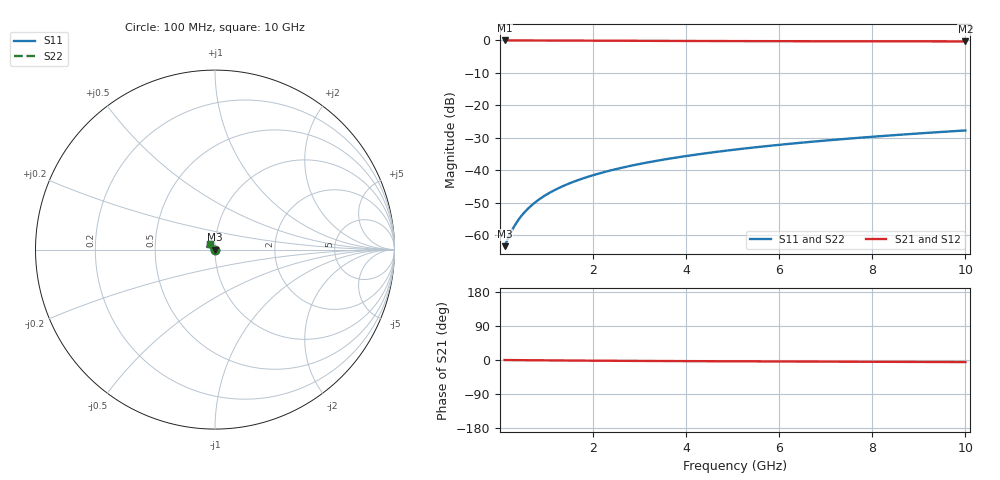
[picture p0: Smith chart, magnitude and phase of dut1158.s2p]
! Touchstone file exported from HFSS 2024.1.0
!  File:  C:/UserFiles/LocalFiles/RDL_TSV_Batchsim/temp_TSV1_1158_1780072567.aedt
!  Generated:  12:44:43 AM May 30, 2026
!  Design:  TSV1
!  Project:  temp_TSV1_1158_1780072567
!  Setup:  Setup1
!  Solution:  Sweep
! Variables:
!  dtsv = 5.02um
!  hbump = 3um
!  htsv = 77.71um
!  lrdl = 252.1521522um
!  p = 40
!  p1 = 53.54um
!  t = 500um
!  trdl = 3um
!  wrdl = 24.89489489um
# GHz S MA R 50.000000
! Terminal data exported
! Port[1] = TSV22_T1
! Port[2] = TSV22_T2
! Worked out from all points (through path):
!   100 points, 100 MHz to 10 GHz, reference 50 ohm
!   highest |S21| = 0.00 dB at 100 MHz (marker M1); lowest = -0.3 dB at 10 GHz (marker M2)
!   lowest |S11| = -63.4 dB at 100 MHz (marker M3), VSWR 1.00, Z = 50.1 - j0.0438 ohm
!   |S11| at or under -10 dB: start of sweep to end of sweep
!   |S22| runs from -63.4 to -27.7 dB; largest |S21 - S12| = 6.1e-15
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0.1  0.0006758 -40.3  0.9994 -0.1  0.9994 -0.1  0.0006758 -40.3
! Gamma 0 0 0 0
! Port Impedance 50 0 50 0
0.2  0.0009807 -62.8  0.9994 -0.2  0.9994 -0.2  0.0009807 -62.8
0.3  0.001347 -75.5  0.9992 -0.3  0.9992 -0.3  0.001347 -75.5
0.4  0.001737 -83.9  0.9991 -0.4  0.9991 -0.4  0.001738 -83.9
0.5  0.002141 -90.2  0.9989 -0.5  0.9989 -0.5  0.002141 -90.2
0.6  0.002551 -95.3  0.9986 -0.6  0.9986 -0.6  0.002551 -95.3
0.7  0.002965 -99.7  0.9984 -0.7  0.9984 -0.7  0.002965 -99.7
0.9  0.003798 -107.4  0.9977 -0.9  0.9977 -0.9  0.003798 -107.4
1  0.004216 -110.8  0.9973 -1.0  0.9973 -1.0  0.004216 -110.8
1.2  0.005051 -117.2  0.9965 -1.1  0.9965 -1.1  0.005051 -117.2
1.5  0.006302 -125.9  0.9951 -1.4  0.9951 -1.4  0.006302 -125.9
1.8  0.007547 -133.9  0.9935 -1.6  0.9935 -1.6  0.007547 -133.9
2.1  0.008787 -141.4  0.9919 -1.9  0.9919 -1.9  0.008787 -141.4
2.5  0.01043 -150.5  0.9896 -2.1  0.9896 -2.1  0.01043 -150.5
2.9  0.01207 -158.7  0.9873 -2.4  0.9873 -2.4  0.01207 -158.7
3.4  0.0141 -168.0  0.9846 -2.7  0.9846 -2.7  0.0141 -168.0
4.2  0.01735 179.3  0.9807 -3.1  0.9807 -3.1  0.01735 179.3
5.1  0.02098 167.6  0.977 -3.5  0.977 -3.5  0.02098 167.6
5.9  0.02422 159.1  0.9743 -3.8  0.9743 -3.8  0.02422 159.1
6.7  0.02747 152.0  0.9721 -4.1  0.9721 -4.1  0.02747 152.0
8.4  0.03441 140.1  0.9686 -4.8  0.9686 -4.8  0.03441 140.1
10  0.04103 131.9  0.966 -5.5  0.966 -5.5  0.04103 131.9
